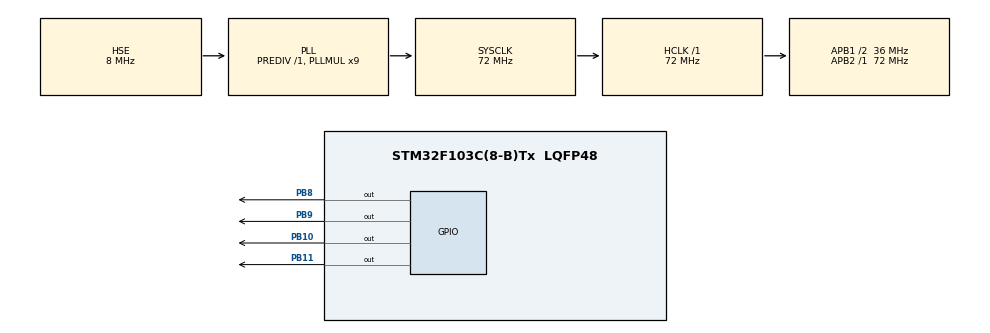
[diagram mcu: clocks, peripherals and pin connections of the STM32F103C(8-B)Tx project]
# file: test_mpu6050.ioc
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Mcu.Family=STM32F1
Mcu.Name=STM32F103C(8-B)Tx
Mcu.Package=LQFP48
NVIC.PriorityGroup=NVIC_PRIORITYGROUP_4
PA13.Mode=Serial_Wire
PA13.Signal=SYS_JTMS-SWDIO
PA14.Mode=Serial_Wire
PA14.Signal=SYS_JTCK-SWCLK
PB10.GPIO_ModeDefaultOutputPP=GPIO_MODE_OUTPUT_OD
PB10.GPIO_PuPd=GPIO_NOPULL
PB10.PinState=GPIO_PIN_SET
PB10.Signal=GPIO_Output
PB11.GPIO_ModeDefaultOutputPP=GPIO_MODE_OUTPUT_OD
PB11.GPIO_PuPd=GPIO_NOPULL
PB11.PinState=GPIO_PIN_SET
PB11.Signal=GPIO_Output
PB8.GPIO_ModeDefaultOutputPP=GPIO_MODE_OUTPUT_OD
PB8.GPIO_PuPd=GPIO_NOPULL
PB8.PinState=GPIO_PIN_SET
PB8.Signal=GPIO_Output
PB9.GPIO_ModeDefaultOutputPP=GPIO_MODE_OUTPUT_OD
PB9.GPIO_PuPd=GPIO_NOPULL
PB9.PinState=GPIO_PIN_SET
PB9.Signal=GPIO_Output
PD0-OSC_IN.Mode=HSE-External-Oscillator
PD0-OSC_IN.Signal=RCC_OSC_IN
PD1-OSC_OUT.Mode=HSE-External-Oscillator
PD1-OSC_OUT.Signal=RCC_OSC_OUT
ProjectManager.HeapSize=0x200
ProjectManager.StackSize=0x400
ProjectManager.TargetToolchain=STM32CubeIDE
RCC.AHBFreq_Value=72000000
RCC.APB1CLKDivider=RCC_HCLK_DIV2
RCC.APB1Freq_Value=36000000
RCC.APB1TimFreq_Value=72000000
RCC.APB2Freq_Value=72000000
RCC.APB2TimFreq_Value=72000000
RCC.HCLKFreq_Value=72000000
RCC.PLLMUL=RCC_PLL_MUL9
RCC.PLLSourceVirtual=RCC_PLLSOURCE_HSE
RCC.SYSCLKFreq_VALUE=72000000
RCC.SYSCLKSource=RCC_SYSCLKSOURCE_PLLCLK
RCC.USBFreq_Value=72000000
board=custom

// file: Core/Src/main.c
/* USER CODE BEGIN Header */
/**
  ******************************************************************************
  * @file           : main.c
  * @brief          : Main program body
  ******************************************************************************
  * @attention
  *
  * Copyright (c) 2024 STMicroelectronics.
  * All rights reserved.
  *
  * This software is licensed under terms that can be found in the LICENSE file
  * in the root directory of this software component.
  * If no LICENSE file comes with this software, it is provided AS-IS.
  *
  ******************************************************************************
  */
/* USER CODE END Header */
#include "main.h"
#include "gpio.h"

/* USER CODE BEGIN Includes */
#include "inv_mpu.h"
#include "atk_ms6050.h"
#include "oled.h"
/* USER CODE END Includes */

void SystemClock_Config(void);

int main(void)
{
  /* USER CODE BEGIN 1 */
	  uint8_t ret;
	    float pit, rol, yaw;
	    int16_t acc_x, acc_y, acc_z;
	    int16_t gyr_x, gyr_y, gyr_z;
	    int16_t temp;
  /* USER CODE END 1 */

  /* MCU Configuration--------------------------------------------------------*/

  /* Reset of all peripherals, Initializes the Flash interface and the Systick. */
  HAL_Init();

  /* Configure the system clock */
  SystemClock_Config();

  /* Initialize all configured peripherals */
  MX_GPIO_Init();
  /* USER CODE BEGIN 2 */
  my_mpu6050_init();
  OLED_Init();
  /* USER CODE END 2 */

  /* Infinite loop */
  /* USER CODE BEGIN WHILE */
  while (1)
  {
	  /*   从ATK-MS6050 DMP获取数据           */
	  ret  = atk_ms6050_dmp_get_data(&pit, &rol, &yaw);
	  /*  从ATK-MS6050获取加速度数据 ֵ */
	  ret += atk_ms6050_get_accelerometer(&acc_x, &acc_y, &acc_z);
	  /*  从ATK-MS6050获取陀螺仪值   ֵ */
	  ret += atk_ms6050_get_gyroscope(&gyr_x, &gyr_y, &gyr_z);
	  /*  从ATK-MS6050获取温度 */
	  ret += atk_ms6050_get_temperature(&temp);
	 /*如果上述函数调用都成功*/
	  if (ret == 0)
	  {
	      if (1)
	      {
		  //OLED显示欧拉角
//	       	 OLED_ShowString(1, 1,"pitch:");
//	       	 OLED_ShowString(2, 1,"yaw:");
//	       	 OLED_ShowString(3, 1,"roll:");
//	       	 OLED_ShowSignedNum(1, 7, pit, 4);
//	         OLED_ShowSignedNum(2, 7, yaw, 4);
//	         OLED_ShowSignedNum(3, 7, rol,4);
		  //OLED显示原始数据
		OLED_ShowSignedNum(1, 1,acc_x,4);
		OLED_ShowSignedNum(2, 1,acc_y,4);
		OLED_ShowSignedNum(3, 1,acc_x,4);
		OLED_ShowSignedNum(1, 8, gyr_x, 4);
		OLED_ShowSignedNum(2, 8, gyr_y, 4);
		OLED_ShowSignedNum(3, 8, gyr_z,4);
	         }
	  }
    /* USER CODE END WHILE */

  }
}

void SystemClock_Config(void)
{
  RCC_OscInitTypeDef RCC_OscInitStruct = {0};
  RCC_ClkInitTypeDef RCC_ClkInitStruct = {0};

  /** Initializes the RCC Oscillators according to the specified parameters
  * in the RCC_OscInitTypeDef structure.
  */
  RCC_OscInitStruct.OscillatorType = RCC_OSCILLATORTYPE_HSE;
  RCC_OscInitStruct.HSEState = RCC_HSE_ON;
  RCC_OscInitStruct.HSEPredivValue = RCC_HSE_PREDIV_DIV1;
  RCC_OscInitStruct.HSIState = RCC_HSI_ON;
  RCC_OscInitStruct.PLL.PLLState = RCC_PLL_ON;
  RCC_OscInitStruct.PLL.PLLSource = RCC_PLLSOURCE_HSE;
  RCC_OscInitStruct.PLL.PLLMUL = RCC_PLL_MUL9;
  if (HAL_RCC_OscConfig(&RCC_OscInitStruct) != HAL_OK)
  {
    Error_Handler();
  }

  /** Initializes the CPU, AHB and APB buses clocks
  */
  RCC_ClkInitStruct.ClockType = RCC_CLOCKTYPE_HCLK|RCC_CLOCKTYPE_SYSCLK
                              |RCC_CLOCKTYPE_PCLK1|RCC_CLOCKTYPE_PCLK2;
  RCC_ClkInitStruct.SYSCLKSource = RCC_SYSCLKSOURCE_PLLCLK;
  RCC_ClkInitStruct.AHBCLKDivider = RCC_SYSCLK_DIV1;
  RCC_ClkInitStruct.APB1CLKDivider = RCC_HCLK_DIV2;
  RCC_ClkInitStruct.APB2CLKDivider = RCC_HCLK_DIV1;

  if (HAL_RCC_ClockConfig(&RCC_ClkInitStruct, FLASH_LATENCY_2) != HAL_OK)
  {
    Error_Handler();
  }
}

void Error_Handler(void)
{
  __disable_irq();
  while (1)
  {
  }
}
